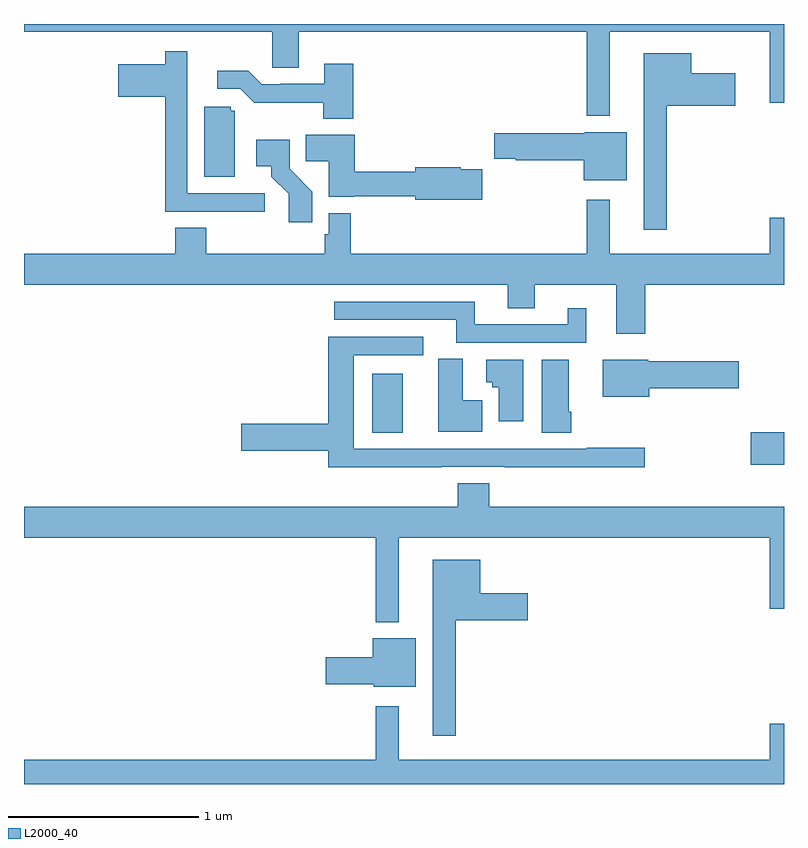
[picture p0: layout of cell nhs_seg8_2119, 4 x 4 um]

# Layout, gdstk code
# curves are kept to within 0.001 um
import gdstk
lib = gdstk.Library(unit=1e-6, precision=1e-09)
def R(c, l, rs):  # rectangles x0, y0, x1, y1
    for r in rs: c.add(gdstk.rectangle(r[:2], r[2:], *l))
def P(c, l, *ps):  # polygons
    for p in ps: c.add(gdstk.Polygon(p, *l))
L2000_40 = (2000, 40)

nhs_seg8_2119 = lib.new_cell('nhs_seg8_2119')
R(nhs_seg8_2119, L2000_40, [(248.826,1087.58,249,1087.751), (246.833,1087.75,246.994,1088.059)])
P(nhs_seg8_2119, L2000_40, [(248.083,1089.86),(248.924,1089.86),(248.924,1089.486),(249,1089.486),(249,1089.9),(245,1089.9),(245,1089.86),(246.306,1089.86),(246.306,1089.67),(246.445,1089.67),(246.445,1089.86),(247.962,1089.86),(247.962,1089.416),(248.083,1089.416)],
  [(246.268,1089.009),(245.859,1089.009),(245.859,1089.534),(245.86,1089.534),(245.86,1089.757),(245.743,1089.757),(245.743,1089.688),(245.496,1089.688),(245.496,1089.518),(245.743,1089.518),(245.743,1088.913),(246.043,1088.913),(246.043,1088.911),(246.268,1088.911)],
  [(248.383,1089.47),(248.743,1089.47),(248.743,1089.64),(248.512,1089.64),(248.512,1089.745),(248.261,1089.745),(248.261,1088.817),(248.383,1088.817)],
  [(246.734,1089.691),(246.581,1089.691),(246.581,1089.585),(246.352,1089.585),(246.352,1089.582),(246.252,1089.582),(246.179,1089.655),(246.018,1089.655),(246.018,1089.558),(246.138,1089.558),(246.211,1089.485),(246.574,1089.486),(246.574,1089.401),(246.734,1089.401)],
  [(246.109,1089.444),(246.087,1089.444),(246.087,1089.465),(245.948,1089.465),(245.948,1089.096),(246.109,1089.096)],
  [(248.173,1089.331),(247.95,1089.331),(247.95,1089.326),(247.476,1089.326),(247.476,1089.19),(247.588,1089.19),(247.588,1089.184),(247.946,1089.184),(247.946,1089.077),(248.173,1089.077)],
  [(247.411,1089.136),(247.298,1089.136),(247.298,1089.146),(247.058,1089.146),(247.058,1089.122),(246.742,1089.122),(246.742,1089.316),(246.484,1089.316),(246.484,1089.178),(246.605,1089.178),(246.605,1088.99),(246.738,1088.99),(246.738,1088.994),(247.058,1088.994),(247.058,1088.975),(247.411,1088.975)],
  [(246.518,1089.018),(246.399,1089.137),(246.399,1089.292),(246.222,1089.292),(246.222,1089.152),(246.302,1089.152),(246.302,1089.097),(246.393,1089.007),(246.393,1088.856),(246.518,1088.856)],
  [(245.795,1088.828),(245.795,1088.692),(245,1088.692),(245,1088.528),(247.547,1088.528),(247.547,1088.404),(247.687,1088.404),(247.687,1088.528),(248.117,1088.528),(248.117,1088.271),(248.27,1088.271),(248.27,1088.528),(249,1088.528),(249,1088.881),(248.924,1088.881),(248.924,1088.692),(248.083,1088.692),(248.083,1088.974),(247.962,1088.974),(247.962,1088.692),(246.719,1088.692),(246.719,1088.905),(246.603,1088.905),(246.603,1088.793),(246.583,1088.793),(246.583,1088.692),(245.96,1088.692),(245.96,1088.828)],
  [(247.96,1088.404),(247.862,1088.404),(247.862,1088.319),(247.372,1088.319),(247.372,1088.439),(246.633,1088.439),(246.633,1088.343),(247.274,1088.343),(247.274,1088.223),(247.96,1088.223)],
  [(247.199,1087.569),(247.531,1087.569),(247.531,1087.568),(248.266,1087.568),(248.266,1087.67),(247.963,1087.67),(247.963,1087.665),(246.736,1087.665),(246.736,1088.157),(247.102,1088.157),(247.102,1088.253),(246.602,1088.253),(246.602,1087.796),(246.144,1087.796),(246.144,1087.654),(246.602,1087.654),(246.602,1087.568),(247.199,1087.568)],
  [(247.411,1087.92),(247.309,1087.92),(247.309,1088.137),(247.181,1088.137),(247.181,1087.754),(247.411,1087.754)],
  [(247.627,1088.134),(247.433,1088.134),(247.433,1088.015),(247.464,1088.015),(247.464,1087.987),(247.499,1087.987),(247.499,1087.809),(247.627,1087.809)],
  [(248.29,1087.982),(248.761,1087.982),(248.761,1088.124),(248.286,1088.124),(248.286,1088.134),(248.045,1088.134),(248.045,1087.937),(248.29,1087.937)],
  [(247.88,1087.858),(247.867,1087.858),(247.867,1088.134),(247.724,1088.134),(247.724,1087.75),(247.88,1087.75)],
  [(246.973,1087.196),(248.924,1087.196),(248.924,1086.822),(249,1086.822),(249,1087.36),(247.448,1087.36),(247.448,1087.484),(247.283,1087.484),(247.283,1087.36),(245,1087.36),(245,1087.196),(246.852,1087.196),(246.852,1086.752),(246.973,1086.752)],
  [(247.273,1086.761),(247.651,1086.761),(247.651,1086.903),(247.402,1086.903),(247.402,1087.081),(247.151,1087.081),(247.151,1086.153),(247.273,1086.153)],
  [(247.063,1086.667),(246.836,1086.667),(246.836,1086.566),(246.588,1086.566),(246.588,1086.424),(246.84,1086.424),(246.84,1086.413),(247.063,1086.413)],
  [(249,1086.217),(248.924,1086.217),(248.924,1086.028),(246.973,1086.028),(246.973,1086.31),(246.852,1086.31),(246.852,1086.028),(245,1086.028),(245,1085.9),(249,1085.9)])

lib.write_gds('nhs_seg8_2119.gds')
